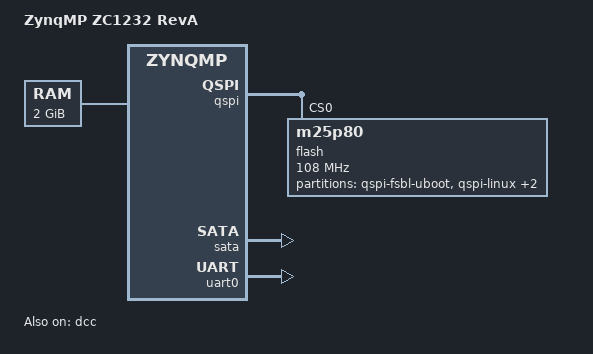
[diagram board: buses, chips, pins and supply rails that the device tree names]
// SPDX-License-Identifier: GPL-2.0+
/*
 * dts file for Xilinx ZynqMP ZC1232
 *
 * (C) Copyright 2017 - 2021, Xilinx, Inc.
 *
 * Michal Simek <michal.simek@amd.com>
 */

/dts-v1/;

#include "zynqmp.dtsi"
#include "zynqmp-clk-ccf.dtsi"

/ {
	model = "ZynqMP ZC1232 RevA";
	compatible = "xlnx,zynqmp-zc1232-revA", "xlnx,zynqmp-zc1232", "xlnx,zynqmp";

	aliases {
		serial0 = &uart0;
		serial1 = &dcc;
		spi0 = &qspi;
	};

	chosen {
		bootargs = "earlycon";
		stdout-path = "serial0:115200n8";
	};

	memory@0 {
		device_type = "memory";
		reg = <0x0 0x0 0x0 0x80000000>;
	};
};

&dcc {
	status = "okay";
};

&qspi {
	status = "okay";
	flash@0 {
		compatible = "m25p80", "jedec,spi-nor"; /* 32MB FIXME */
		#address-cells = <1>;
		#size-cells = <1>;
		reg = <0x0>;
		spi-tx-bus-width = <4>;
		spi-rx-bus-width = <4>;
		spi-max-frequency = <108000000>; /* Based on DC1 spec */
		partition@0 { /* for testing purpose */
			label = "qspi-fsbl-uboot";
			reg = <0x0 0x100000>;
		};
		partition@100000 { /* for testing purpose */
			label = "qspi-linux";
			reg = <0x100000 0x500000>;
		};
		partition@600000 { /* for testing purpose */
			label = "qspi-device-tree";
			reg = <0x600000 0x20000>;
		};
		partition@620000 { /* for testing purpose */
			label = "qspi-rootfs";
			reg = <0x620000 0x5E0000>;
		};
	};
};

&sata {
	status = "okay";
	/* SATA OOB timing settings */
	ceva,p0-cominit-params = /bits/ 8 <0x18 0x40 0x18 0x28>;
	ceva,p0-comwake-params = /bits/ 8 <0x06 0x14 0x08 0x0E>;
	ceva,p0-burst-params = /bits/ 8 <0x13 0x08 0x4A 0x06>;
	ceva,p0-retry-params = /bits/ 16 <0x96A4 0x3FFC>;
	ceva,p1-cominit-params = /bits/ 8 <0x18 0x40 0x18 0x28>;
	ceva,p1-comwake-params = /bits/ 8 <0x06 0x14 0x08 0x0E>;
	ceva,p1-burst-params = /bits/ 8 <0x13 0x08 0x4A 0x06>;
	ceva,p1-retry-params = /bits/ 16 <0x96A4 0x3FFC>;
};

&uart0 {
	status = "okay";
};
